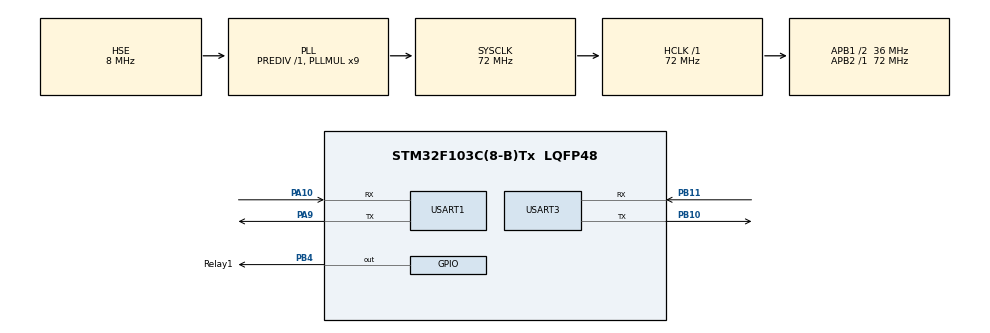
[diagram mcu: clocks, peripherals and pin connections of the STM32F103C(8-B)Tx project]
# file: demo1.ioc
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Mcu.Family=STM32F1
Mcu.Name=STM32F103C(8-B)Tx
Mcu.Package=LQFP48
NVIC.PriorityGroup=NVIC_PRIORITYGROUP_4
NVIC.USART1_IRQn=true\:0\:0\:false\:false\:true\:true\:true\:true
NVIC.USART3_IRQn=true\:0\:0\:false\:false\:true\:true\:true\:true
PA10.GPIO_Mode=GPIO_MODE_INPUT
PA10.GPIO_PuPd=GPIO_NOPULL
PA10.Mode=Asynchronous
PA10.Signal=USART1_RX
PA13.Mode=Serial_Wire
PA13.Signal=SYS_JTMS-SWDIO
PA14.Mode=Serial_Wire
PA14.Signal=SYS_JTCK-SWCLK
PA9.Mode=Asynchronous
PA9.Signal=USART1_TX
PB10.Mode=Asynchronous
PB10.Signal=USART3_TX
PB11.GPIO_Mode=GPIO_MODE_INPUT
PB11.GPIO_PuPd=GPIO_NOPULL
PB11.Mode=Asynchronous
PB11.Signal=USART3_RX
PB4.GPIO_Label=Relay1
PB4.Signal=GPIO_Output
PD0-OSC_IN.Mode=HSE-External-Oscillator
PD0-OSC_IN.Signal=RCC_OSC_IN
PD1-OSC_OUT.Mode=HSE-External-Oscillator
PD1-OSC_OUT.Signal=RCC_OSC_OUT
ProjectManager.HeapSize=0x200
ProjectManager.StackSize=0x400
ProjectManager.TargetToolchain=MDK-ARM V5.32
RCC.AHBFreq_Value=72000000
RCC.APB1CLKDivider=RCC_HCLK_DIV2
RCC.APB1Freq_Value=36000000
RCC.APB1TimFreq_Value=72000000
RCC.APB2Freq_Value=72000000
RCC.APB2TimFreq_Value=72000000
RCC.HCLKFreq_Value=72000000
RCC.PLLMUL=RCC_PLL_MUL9
RCC.PLLSourceVirtual=RCC_PLLSOURCE_HSE
RCC.SYSCLKFreq_VALUE=72000000
RCC.SYSCLKSource=RCC_SYSCLKSOURCE_PLLCLK
RCC.USBFreq_Value=72000000
USART1.VirtualMode=VM_ASYNC
USART3.VirtualMode=VM_ASYNC
board=custom

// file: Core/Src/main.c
/* USER CODE BEGIN Header */
/**
  ******************************************************************************
  * @file           : main.c
  * @brief          : Main program body
  ******************************************************************************
  * @attention
  *
  * Copyright (c) 2024 STMicroelectronics.
  * All rights reserved.
  *
  * This software is licensed under terms that can be found in the LICENSE file
  * in the root directory of this software component.
  * If no LICENSE file comes with this software, it is provided AS-IS.
  *
  ******************************************************************************
  */
/* USER CODE END Header */
#include "main.h"
#include "usart.h"
#include "gpio.h"

/* USER CODE BEGIN Includes */
#include "circle_buffer.h"
#include "Relay.h"
#include "ESP8266.h"
#include <stdio.h>
#include <string.h>
/* USER CODE END Includes */

void SystemClock_Config(void);

int main(void)
{

  /* MCU Configuration--------------------------------------------------------*/

  /* Reset of all peripherals, Initializes the Flash interface and the Systick. */
  HAL_Init();

  /* Configure the system clock */
  SystemClock_Config();

  /* Initialize all configured peripherals */
  MX_GPIO_Init();
  MX_USART1_UART_Init();
  MX_USART3_UART_Init();
  /* USER CODE BEGIN 2 */
  Relay_init();
  //HAL_UART_Transmit(&huart1,(const uint8_t *)"AT+RESTORE\r\n",13,2);
  //HAL_NVIC_SetPriority(SysTick_IRQn, 0, 0);
  //HAL_NVIC_SetPriority(USART1_IRQn, 1, 0);
  UART1_IDLE_INIT();
  circle_buf_init(&g_cmd,50,g_buf_cmd);
  HAL_Delay(500);
  if(ESP8266_Client_init()!=0)
  {
    printf("ESP8266 init Fail!!!");
  }
  else  printf("ESP8266 init success!!!");
  /* USER CODE END 2 */

  /* Infinite loop */
  while (1)
  {

    /* USER CODE BEGIN 3 */
    process_ESP_data();
  }
  /* USER CODE END 3 */
}

void SystemClock_Config(void)
{
  RCC_OscInitTypeDef RCC_OscInitStruct = {0};
  RCC_ClkInitTypeDef RCC_ClkInitStruct = {0};

  /** Initializes the RCC Oscillators according to the specified parameters
  * in the RCC_OscInitTypeDef structure.
  */
  RCC_OscInitStruct.OscillatorType = RCC_OSCILLATORTYPE_HSE;
  RCC_OscInitStruct.HSEState = RCC_HSE_ON;
  RCC_OscInitStruct.HSEPredivValue = RCC_HSE_PREDIV_DIV1;
  RCC_OscInitStruct.HSIState = RCC_HSI_ON;
  RCC_OscInitStruct.PLL.PLLState = RCC_PLL_ON;
  RCC_OscInitStruct.PLL.PLLSource = RCC_PLLSOURCE_HSE;
  RCC_OscInitStruct.PLL.PLLMUL = RCC_PLL_MUL9;
  if (HAL_RCC_OscConfig(&RCC_OscInitStruct) != HAL_OK)
  {
    Error_Handler();
  }

  /** Initializes the CPU, AHB and APB buses clocks
  */
  RCC_ClkInitStruct.ClockType = RCC_CLOCKTYPE_HCLK|RCC_CLOCKTYPE_SYSCLK
                              |RCC_CLOCKTYPE_PCLK1|RCC_CLOCKTYPE_PCLK2;
  RCC_ClkInitStruct.SYSCLKSource = RCC_SYSCLKSOURCE_PLLCLK;
  RCC_ClkInitStruct.AHBCLKDivider = RCC_SYSCLK_DIV1;
  RCC_ClkInitStruct.APB1CLKDivider = RCC_HCLK_DIV2;
  RCC_ClkInitStruct.APB2CLKDivider = RCC_HCLK_DIV1;

  if (HAL_RCC_ClockConfig(&RCC_ClkInitStruct, FLASH_LATENCY_2) != HAL_OK)
  {
    Error_Handler();
  }
}

/* USER CODE BEGIN 4 */

void process_ESP_data(void)
{
  char cmd[50]={0};
  uint8_t lenth = 0;
  Waitfor_RX_COMPLT();
  while(g_cmd.r != g_cmd.w)
  {
    circle_buf_read(&g_cmd,(uint8_t *)&cmd[lenth++]);
  }
  handle_cmd((uint8_t *)cmd);

}

void handle_cmd(uint8_t *cmd)
{
  #if DEBUG
  printf("receive CMD is[%s]",cmd);
  #endif
  if(strncmp((const char *)cmd,"poweron",strlen("poweron"))==0)//唤醒MCU
  {
    printf("MCU wakeup\r\n");
    HAL_UART_Transmit(&huart1,"[LOG]:MCU already poweron\r\n",strlen("[LOG]:MCU already poweron\r\n"),2);
    HAL_UARTEx_ReceiveToIdle_IT(&huart1,buf_rx,50);
  }
  else if (strncmp((const char *)cmd,"switchon ADCU",strlen("switchon ADCU"))==0)//域控上电
  {
    printf("ADC switch on\r\n");
    Relay_close_NC();
    HAL_UART_Transmit(&huart1,"[LOG]:switchon ADCU\r\n",strlen("[LOG]:switchon ADCU\r\n"),2);
    HAL_UARTEx_ReceiveToIdle_IT(&huart1,buf_rx,50);
  }
  else if (strncmp((const char *)cmd,"switchoff ADCU",strlen("switchoff ADCU"))==0)//域控掉电
  {
    printf("ADC switch off\r\n");
    Relay_close_NO();
    HAL_UART_Transmit(&huart1,"[LOG]:switchoff ADCU\r\n",strlen("[LOG]:switchoff ADCU\r\n"),2);
    HAL_UARTEx_ReceiveToIdle_IT(&huart1,buf_rx,50);
  }
  else
  {
    HAL_UART_Transmit(&huart1,"[WARNING]:invalid cmd!!!\r\n",strlen("[WARNING]:invalid cmd!!!\r\n"),2);
    HAL_UARTEx_ReceiveToIdle_IT(&huart1,buf_rx,50);
  }

}

int fputc(int ch, FILE *f) {
    HAL_UART_Transmit(&huart3, (uint8_t *)&ch, 1, HAL_MAX_DELAY);
    return ch;
}
/* USER CODE END 4 */

void Error_Handler(void)
{
  __disable_irq();
  while (1)
  {
  }
}
